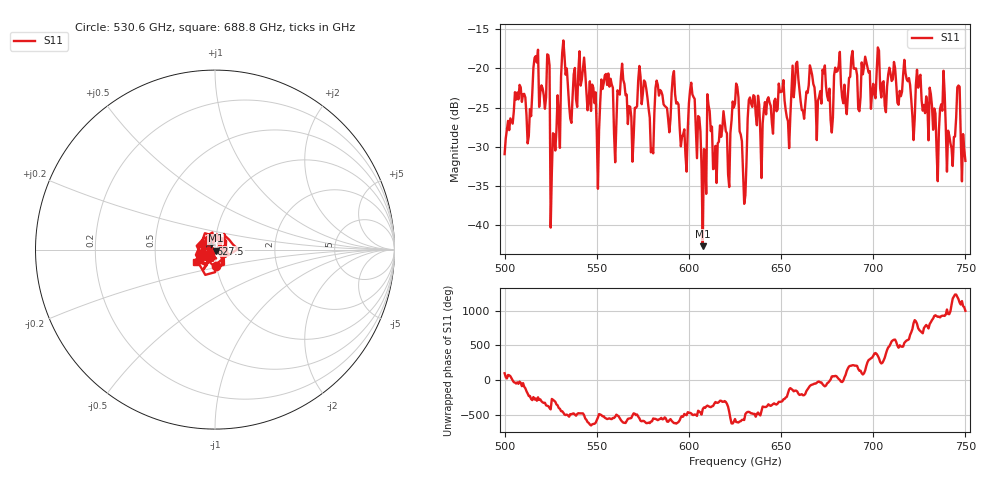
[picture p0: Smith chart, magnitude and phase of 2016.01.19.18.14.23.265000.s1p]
!Created with skrf (http://scikit-rf.org).
# GHz S RI R 50.0
!freq ReS11 ImS11
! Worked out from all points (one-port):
!   401 points, 500 GHz to 750 GHz, reference 50 ohm
!   lowest |S11| = -42.7 dB at 607.5 GHz (marker M1), VSWR 1.01, Z = 50.4 - j0.638 ohm
!   |S11| at or under -10 dB: start of sweep to end of sweep
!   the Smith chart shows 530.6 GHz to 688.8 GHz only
!   S11 on the Smith chart (normalised r, x): 530.6 GHz: 0.99, -0.18; 627.5 GHz: 0.96, +0.06; 688.8 GHz: 0.80, -0.12
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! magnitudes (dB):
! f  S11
! 500 GHz  -30.9
! 506.9 GHz  -23.1
! 513.1 GHz  -28.6
! 516.9 GHz  -18.4
! 523.1 GHz  -18.2
! 526.2 GHz  -28.3
! 530.6 GHz  -21.0
! 531.2 GHz  -18.0
! 550 GHz  -28.1
! 562.5 GHz  -23.3
! 580 GHz  -30.2
! 583.1 GHz  -22.1
! 593.8 GHz  -24.3
! 597.5 GHz  -27.8
! 601.9 GHz  -23.3
! 607.5 GHz  -42.7
! 621.9 GHz  -35.1
! 625 GHz  -24.5
! 627.5 GHz  -28.0
! 630 GHz  -37.3
! 633.8 GHz  -24.5
! 656.2 GHz  -19.6
! 687.5 GHz  -21.1
! 688.8 GHz  -17.8
! 718.8 GHz  -21.6
! 741.2 GHz  -28.6
! 746.2 GHz  -22.2
! 750 GHz  -31.8
